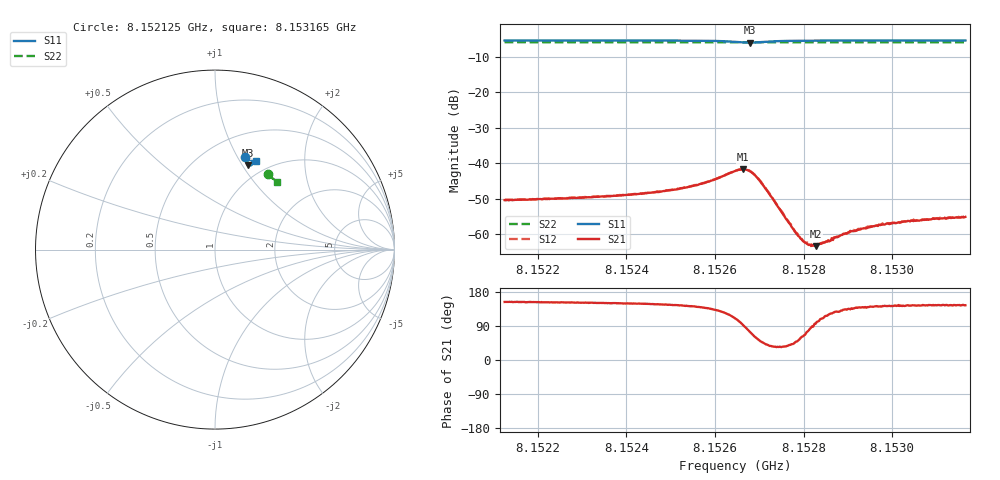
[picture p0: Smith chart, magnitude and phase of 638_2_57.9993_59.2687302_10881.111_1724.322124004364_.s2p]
#  HZ  S  RI  R  50.00
! Rohde & Schwarz Vector Network Analyzer
! Rohde-Schwarz,ZNB20-2Port,1311601062101988,3.16
! Created: UTC 3/21/2024, 1:18:56 AM
! freq[Hz]  re:S11  im:S11  re:S21  im:S21  re:S12  im:S12  re:S22  im:S22
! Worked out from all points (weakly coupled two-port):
!   401 points, 8.152125 GHz to 8.153165 GHz, reference 50 ohm
!   highest |S21| = -41.68 dB at 8.152663 GHz (marker M1); lowest = -63.4 dB at 8.152827 GHz (marker M2)
!   lowest |S11| = -6.0 dB at 8.152679 GHz (marker M3), VSWR 3.03, Z = 42.2 + j53 ohm
!   |S11| at or under -10 dB: nowhere
!   |S22| runs from -5.9 to -5.8 dB; largest |S21 - S12| = 0.00015
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8.1521253e9  0.1658 0.5144  -0.0027 0.00136  -0.00269 0.00137  0.2931 0.4198
8.1522995e9  0.1786 0.5103  -0.00286 0.00158  -0.00288 0.00164  0.302 0.4131
8.1523931e9  0.1859 0.5075  -0.00305 0.00183  -0.00306 0.00186  0.3069 0.4094
8.1524737e9  0.1927 0.5043  -0.00329 0.00216  -0.00332 0.00222  0.3108 0.4062
8.1525621e9  0.2021 0.4979  -0.00382 0.00319  -0.00384 0.00329  0.3152 0.4024
8.152601e9  0.2068 0.4914  -0.00401 0.00441  -0.00399 0.00446  0.3171 0.4006
8.1526452e9  0.2062 0.4751  -0.00268 0.00732  -0.00266 0.00738  0.3189 0.3983
8.1526634e9  0.197 0.4678  -0.000317 0.00823  -0.0003 0.00829  0.3194 0.3974
8.152679e9  0.1848 0.4689  0.00214 0.00741  0.00223 0.00748  0.3197 0.3971
8.152692e9  0.1779 0.4759  0.00338 0.00568  0.00348 0.00572  0.3202 0.3968
8.152705e9  0.1763 0.484  0.00351 0.00388  0.00366 0.00393  0.3209 0.3967
8.1527778e9  0.1911 0.5002  0.000848 0.000801  0.000837 0.000816  0.325 0.3941
8.1527882e9  0.193 0.5004  0.000579 0.000742  0.000572 0.000773  0.3255 0.3939
8.1528012e9  0.1951 0.5005  0.000327 0.000713  0.000335 0.000699  0.3262 0.3931
8.1528116e9  0.1964 0.5005  0.000145 0.00069  0.000136 0.000705  0.3269 0.3928
8.1528194e9  0.1975 0.5005  1.4e-05 0.000702  9e-06 0.000698  0.3272 0.3926
8.1528272e9  0.1988 0.5006  -6.98e-05 0.000674  -5.93e-05 0.000698  0.3275 0.3922
8.1529052e9  0.207 0.4989  -0.000771 0.000803  -0.000759 0.000759  0.3314 0.3888
8.1529468e9  0.2108 0.4978  -0.000947 0.000808  -0.000947 0.000837  0.3334 0.3872
8.1529936e9  0.2146 0.4966  -0.00111 0.000833  -0.00112 0.00086  0.3356 0.3851
8.1530924e9  0.222 0.4938  -0.00137 0.000952  -0.00135 0.000996  0.3403 0.3809
8.1531652e9  0.2272 0.4918  -0.00143 0.00102  -0.00139 0.00101  0.3436 0.3776
